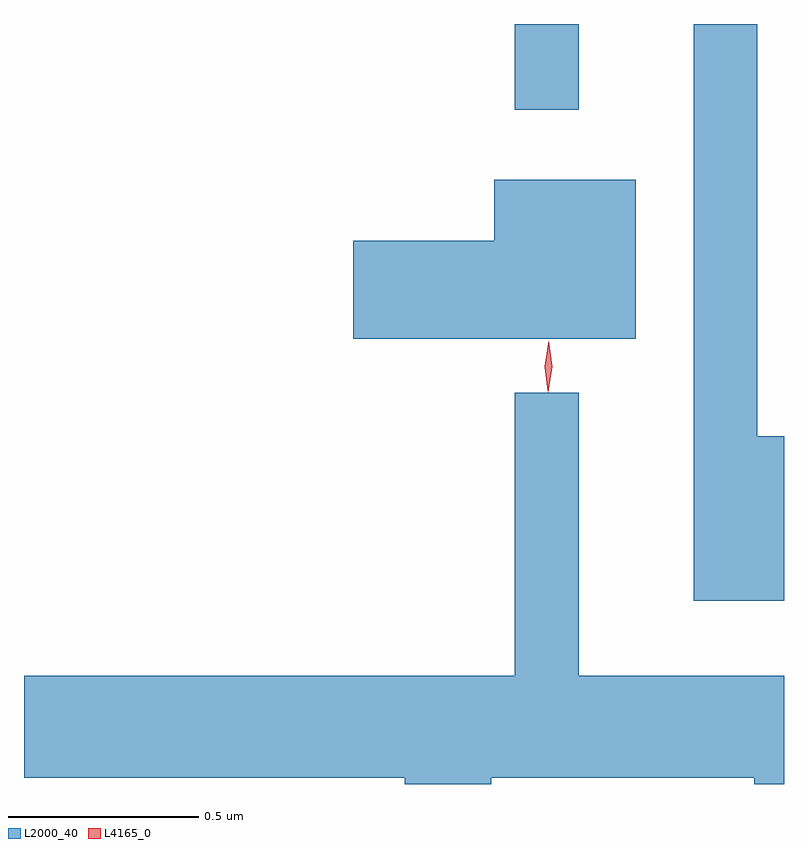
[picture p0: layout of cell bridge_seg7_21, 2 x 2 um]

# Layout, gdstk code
import gdstk
lib = gdstk.Library(unit=1e-6, precision=1e-09)
def R(c, l, rs):  # rectangles x0, y0, x1, y1
    for r in rs: c.add(gdstk.rectangle(r[:2], r[2:], *l))
def P(c, l, *ps):  # polygons
    for p in ps: c.add(gdstk.Polygon(p, *l))
L2000_40 = (2000, 40)
L4165_0 = (4165, 0)

bridge_seg7_21 = lib.new_cell('bridge_seg7_21')
R(bridge_seg7_21, L2000_40, [(1700.901,1747.153,1701.069,1747.379)])
P(bridge_seg7_21, L2000_40, [(1701.609,1746.294),(1701.539,1746.294),(1701.539,1747.379),(1701.371,1747.379),(1701.371,1745.861),(1701.609,1745.861)],
  [(1701.219,1746.969),(1700.846,1746.969),(1700.846,1746.809),(1700.476,1746.809),(1700.476,1746.551),(1701.219,1746.551)],
  [(1700.839,1745.396),(1701.531,1745.396),(1701.531,1745.379),(1701.609,1745.379),(1701.609,1745.664),(1701.069,1745.664),(1701.069,1746.408),(1700.901,1746.408),(1700.901,1745.664),(1699.609,1745.664),(1699.609,1745.396),(1700.611,1745.396),(1700.611,1745.379),(1700.839,1745.379)])
P(bridge_seg7_21, L4165_0, [(1700.988,1746.41),(1700.988,1746.41),(1700.979,1746.478),(1700.99,1746.545),(1700.99,1746.546),(1700.99,1746.545),(1700.999,1746.478),(1700.989,1746.41)],
  [(1700.988,1746.413),(1700.987,1746.414),(1700.979,1746.476),(1700.989,1746.539),(1700.99,1746.54),(1700.99,1746.539),(1700.999,1746.476),(1700.988,1746.414)])

lib.write_gds('bridge_seg7_21.gds')
